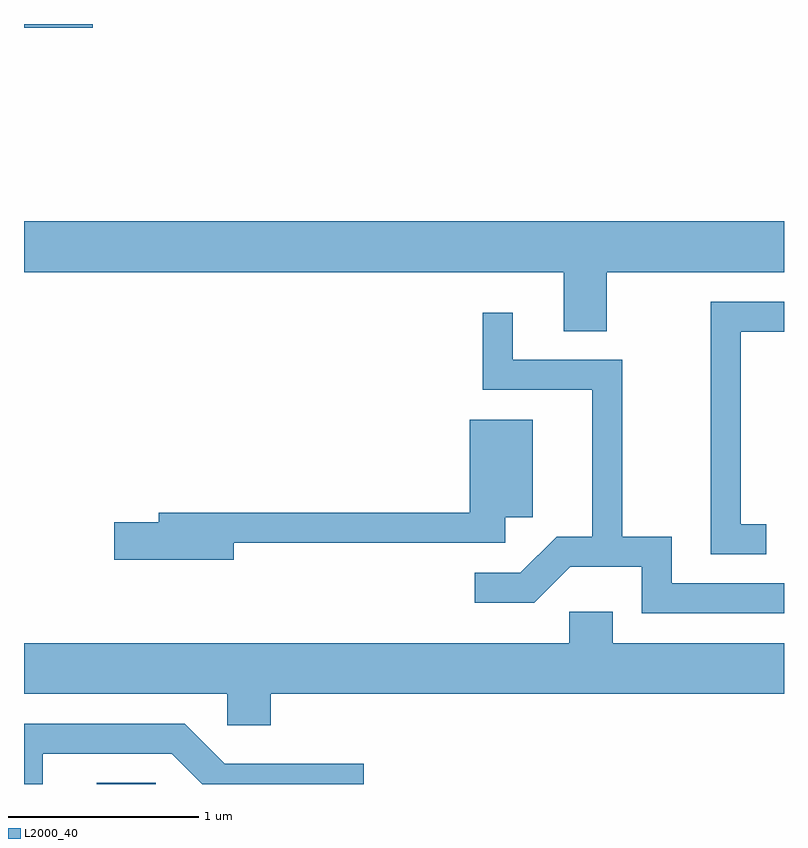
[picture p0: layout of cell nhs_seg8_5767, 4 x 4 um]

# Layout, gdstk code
import gdstk
lib = gdstk.Library(unit=1e-6, precision=1e-09)
def R(c, l, rs):  # rectangles x0, y0, x1, y1
    for r in rs: c.add(gdstk.rectangle(r[:2], r[2:], *l))
def P(c, l, *ps):  # polygons
    for p in ps: c.add(gdstk.Polygon(p, *l))
L2000_40 = (2000, 40)

nhs_seg8_5767 = lib.new_cell('nhs_seg8_5767')
R(nhs_seg8_5767, L2000_40, [(357.993,1880.342,358.304,1880.349), (357.611,1884.321,357.974,1884.342)])
P(nhs_seg8_5767, L2000_40, [(360.679,1883.036),(361.611,1883.036),(361.611,1883.304),(357.611,1883.304),(357.611,1883.036),(360.451,1883.036),(360.451,1882.726),(360.679,1882.726)],
  [(361.518,1881.709),(361.384,1881.709),(361.384,1882.721),(361.611,1882.721),(361.611,1882.879),(361.226,1882.879),(361.226,1881.551),(361.518,1881.551)],
  [(361.611,1881.399),(361.019,1881.399),(361.019,1881.644),(360.759,1881.644),(360.759,1882.574),(360.184,1882.574),(360.184,1882.823),(360.026,1882.823),(360.026,1882.416),(360.601,1882.416),(360.601,1881.644),(360.414,1881.644),(360.224,1881.454),(359.983,1881.454),(359.983,1881.296),(360.297,1881.296),(360.487,1881.486),(360.861,1881.486),(360.861,1881.241),(361.611,1881.241)],
  [(358.714,1881.611),(360.144,1881.611),(360.144,1881.746),(360.289,1881.746),(360.289,1882.259),(359.956,1882.259),(359.956,1881.769),(358.321,1881.769),(358.321,1881.719),(358.086,1881.719),(358.086,1881.521),(358.714,1881.521)],
  [(358.909,1880.816),(361.611,1880.816),(361.611,1881.084),(360.709,1881.084),(360.709,1881.249),(360.481,1881.249),(360.481,1881.084),(357.611,1881.084),(357.611,1880.816),(358.681,1880.816),(358.681,1880.651),(358.909,1880.651)],
  [(357.709,1880.501),(358.389,1880.501),(358.548,1880.342),(359.399,1880.342),(359.399,1880.449),(358.667,1880.449),(358.457,1880.659),(357.611,1880.659),(357.611,1880.342),(357.709,1880.342)])

lib.write_gds('nhs_seg8_5767.gds')
